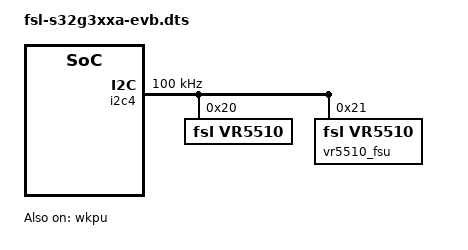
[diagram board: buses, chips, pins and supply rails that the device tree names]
/*
 * Copyright 2022 NXP
 *
 * SPDX-License-Identifier: BSD-3-Clause
 */
/dts-v1/;
#include "fsl-s32g3.dtsi"

/ {
	compatible = "fsl,s32g3xxaevb";
};

/* PMIC */
&i2c4 {
	status = "okay";
	clock-frequency=<100000>;

	vr5510@20 {
		compatible = "fsl,vr5510";
		reg = <0x20>;
		status = "okay";
	};

	vr5510_fsu@21 {
		compatible = "fsl,vr5510";
		reg = <0x21>;
		status = "okay";
	};

};

&wkpu {
	status = "okay";
};
